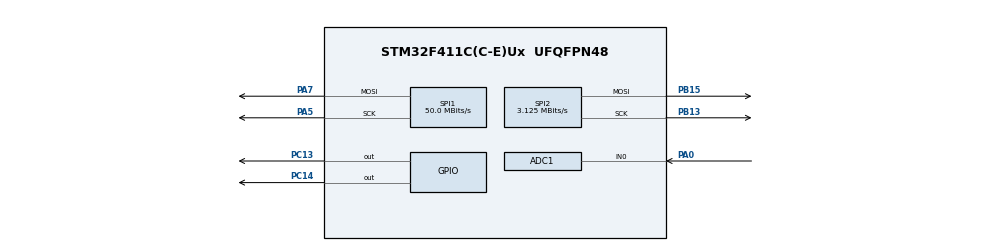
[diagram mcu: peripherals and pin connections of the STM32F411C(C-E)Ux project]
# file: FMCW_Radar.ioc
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ADC1.Channel-0\#ChannelRegularConversion=ADC_CHANNEL_0
ADC1.NbrOfConversionFlag=1
ADC1.Rank-0\#ChannelRegularConversion=1
ADC1.SamplingTime-0\#ChannelRegularConversion=ADC_SAMPLETIME_3CYCLES
ADC1.master=1
Mcu.Family=STM32F4
Mcu.Name=STM32F411C(C-E)Ux
Mcu.Package=UFQFPN48
NVIC.PriorityGroup=NVIC_PRIORITYGROUP_4
PA0-WKUP.Signal=ADCx_IN0
PA13.Mode=Serial_Wire
PA13.Signal=SYS_JTMS-SWDIO
PA14.Mode=Serial_Wire
PA14.Signal=SYS_JTCK-SWCLK
PA5.Mode=TX_Only_Simplex_Unidirect_Master
PA5.Signal=SPI1_SCK
PA7.Mode=TX_Only_Simplex_Unidirect_Master
PA7.Signal=SPI1_MOSI
PB13.Mode=TX_Only_Simplex_Unidirect_Master
PB13.Signal=SPI2_SCK
PB15.Mode=TX_Only_Simplex_Unidirect_Master
PB15.Signal=SPI2_MOSI
PC13-ANTI_TAMP.PinState=GPIO_PIN_SET
PC13-ANTI_TAMP.Signal=GPIO_Output
PC14-OSC32_IN.PinState=GPIO_PIN_SET
PC14-OSC32_IN.Signal=GPIO_Output
ProjectManager.HeapSize=0x200
ProjectManager.StackSize=0x400
ProjectManager.TargetToolchain=MDK-ARM V5
RCC.48MHZClocksFreq_Value=50000000
RCC.AHBFreq_Value=100000000
RCC.APB1CLKDivider=RCC_HCLK_DIV2
RCC.APB1Freq_Value=50000000
RCC.APB1TimFreq_Value=100000000
RCC.APB2Freq_Value=100000000
RCC.APB2TimFreq_Value=100000000
RCC.CortexFreq_Value=100000000
RCC.HCLKFreq_Value=100000000
RCC.HSE_VALUE=25000000
RCC.HSI_VALUE=16000000
RCC.LSE_VALUE=32768
RCC.PLLM=8
RCC.PLLN=100
RCC.SYSCLKFreq_VALUE=100000000
RCC.SYSCLKSource=RCC_SYSCLKSOURCE_PLLCLK
RCC.VCOOutputFreq_Value=200000000
SH.ADCx_IN0.0=ADC1_IN0,IN0
SPI1.CalculateBaudRate=50.0 MBits/s
SPI1.Direction=SPI_DIRECTION_2LINES
SPI1.Mode=SPI_MODE_MASTER
SPI1.VirtualType=VM_MASTER
SPI2.BaudRatePrescaler=SPI_BAUDRATEPRESCALER_16
SPI2.CalculateBaudRate=3.125 MBits/s
SPI2.Direction=SPI_DIRECTION_2LINES
SPI2.Mode=SPI_MODE_MASTER
SPI2.VirtualType=VM_MASTER
board=custom

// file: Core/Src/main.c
/* USER CODE BEGIN Header */
/**
  ******************************************************************************
  * @file           : main.c
  * @brief          : Main program body
  ******************************************************************************
  * @attention
  *
  * Copyright (c) 2026 STMicroelectronics.
  * All rights reserved.
  *
  * This software is licensed under terms that can be found in the LICENSE file
  * in the root directory of this software component.
  * If no LICENSE file comes with this software, it is provided AS-IS.
  *
  ******************************************************************************
  */
/* USER CODE END Header */
#include "main.h"

/* USER CODE BEGIN Includes */
#include "system.h"
#include "spi.h"
#include "adf4350.h"
#include "oled.h"
#include "fft.h"
/* USER CODE END Includes */

/* USER CODE BEGIN PD */
#define MODE_SWEEP          0
#define MODE_SINGLE         1
#define CURRENT_MODE        MODE_SWEEP

#define SINGLE_FREQ_KHZ     2400000U

#define FREQ_START_MHZ      2200U
#define FREQ_STOP_MHZ       4000U
#define FREQ_STEP_KHZ       10U
#define SWEEP_STEP_DELAY_US 0U

#define PFD_KHZ             25000U
#define MOD_VALUE           2500U

// FMCW 距离计算参数
#define C_LIGHT             299792458.0f
#define SWEEP_BW_HZ         1800000000.0f   // 2200→4000MHz
#define SWEEP_STEPS          180000U
#define STEP_TIME_EST_US    5U
#define SWEEP_T_S           ((float)SWEEP_STEPS * STEP_TIME_EST_US / 1000000.0f)
/* USER CODE END PD */

ADC_HandleTypeDef hadc1;

SPI_HandleTypeDef hspi1;
SPI_HandleTypeDef hspi2;

/* USER CODE BEGIN PV */
DMA_HandleTypeDef hdma_adc1;
static uint16_t adc_dma_buf[ADC_BUF_SIZE];
static volatile uint8_t adc_data_ready;
/* USER CODE END PV */

static void MX_GPIO_Init(void);
static void MX_ADC1_Init(void);
static void MX_SPI1_Init(void);
static void MX_SPI2_Init(void);
/* USER CODE BEGIN PFP */
static void ADC_DMA_Start(void);
/* USER CODE END PFP */

/* USER CODE BEGIN 0 */

static void delay_us(uint32_t us)
{
    volatile uint32_t cnt;
    for (cnt = 0; cnt < us * 17; cnt++) {
        __NOP();
    }
}

static void LED_Init(void)
{
    RCC->AHB1ENR |= RCC_AHB1ENR_GPIOCEN;
    GPIOC->MODER   &= ~(3U << 26);
    GPIOC->MODER   |=  (1U << 26);
    GPIOC->OTYPER  &= ~(1U << 13);
    GPIOC->OSPEEDR &= ~(3U << 26);
    GPIOC->BSRR = (1U << 13);
}

static void LED_On(void)  { GPIOC->BSRR = (1U << 29); }
static void LED_Off(void) { GPIOC->BSRR = (1U << 13); }

static void LED_Blink(int times, int on_ms, int off_ms)
{
    for (int i = 0; i < times; i++) {
        LED_On();  delay_ms(on_ms);
        LED_Off(); delay_ms(off_ms);
    }
}

static void SetFreqFast(uint32_t freq_khz)
{
    uint16_t iv = (uint16_t)(freq_khz / PFD_KHZ);
    uint16_t fv = (uint16_t)(((freq_khz % PFD_KHZ) * MOD_VALUE) / PFD_KHZ);
    uint32_t r0 = ((uint32_t)(fv & 0xFFF) << 3)
                | ((uint32_t)(iv & 0xFFFF) << 15);
    SPI1_Write32(r0);
}

// ADC DMA 连续采样启动
static void ADC_DMA_Start(void)
{
    HAL_ADC_Stop(&hadc1);
    HAL_ADC_DeInit(&hadc1);
    hadc1.Init.ContinuousConvMode = ENABLE;
    hadc1.Init.DMAContinuousRequests = ENABLE;
    HAL_ADC_Init(&hadc1);
    HAL_ADC_Start_DMA(&hadc1, (uint32_t *)adc_dma_buf, ADC_BUF_SIZE);
}

/* USER CODE END 0 */

int main(void)
{

  /* MCU Configuration--------------------------------------------------------*/

  /* Reset of all peripherals, Initializes the Flash interface and the Systick. */
  HAL_Init();

  /* Configure the system clock */
  SystemClock_Config();

  /* USER CODE BEGIN SysInit */
  SystemCoreClock = 100000000;
  SysTick_Init();
  /* USER CODE END SysInit */

  /* Initialize all configured peripherals */
  MX_GPIO_Init();
  MX_ADC1_Init();
  MX_SPI1_Init();
  MX_SPI2_Init();
  /* USER CODE BEGIN 2 */
  LED_Init();
  LED_Blink(5, 100, 100);
  delay_ms(500);

  OLED_Init();
  OLED_ShowString(0, 0, "FMCW Radar V2");
  OLED_ShowString(0, 2, "ADC FFT Ready");
  OLED_Update();

  ADF4350_Init();
  delay_ms(100);
  LED_Blink(2, 300, 300);
  delay_ms(500);

  ADC_DMA_Start();
  FFT_Init();

#if (CURRENT_MODE == MODE_SINGLE)
  LED_Blink(3, 80, 80);
  delay_ms(300);
#endif
  /* USER CODE END 2 */

  /* Infinite loop */
  while (1)
  {

    /* USER CODE BEGIN 3 */
#if (CURRENT_MODE == MODE_SINGLE)
    SetFreqFast(SINGLE_FREQ_KHZ);
    LED_On();
    while (1) {
        if (adc_data_ready) {
            adc_data_ready = 0;
            FFT_Process(adc_dma_buf);
            float fpeak = FFT_GetPeakFreq();
            float dist = fpeak * C_LIGHT * SWEEP_T_S / (2.0f * SWEEP_BW_HZ);
            uint32_t d10 = (uint32_t)(dist * 10.0f);
            OLED_ShowString(0, 0, "FMCW Radar V2");
            OLED_ShowString(0, 2, "Fpeak:       Hz");
            OLED_ShowNum(7, 2, (uint32_t)fpeak, 6);
            OLED_ShowString(0, 4, "Dist:       m");
            OLED_ShowNum(6, 4, d10 / 10, 2);
            OLED_ShowString(8, 4, ".");
            OLED_ShowNum(9, 4, d10 % 10, 1);
            OLED_ShowString(0, 6, "Mode: SINGLE");
            OLED_Update();
        }
    }
#else
    {
        const uint32_t start_khz = FREQ_START_MHZ * 1000U;
        const uint32_t stop_khz  = FREQ_STOP_MHZ  * 1000U;
        const uint32_t step_khz  = FREQ_STEP_KHZ;

        LED_On();
        OLED_ShowString(0, 0, "FMCW Radar V2");
        OLED_ShowString(0, 6, "S=2200-4000MHz");
        while (1) {
            for (uint32_t f = start_khz; f <= stop_khz; f += step_khz) {
                SetFreqFast(f);
                if (SWEEP_STEP_DELAY_US) delay_us(SWEEP_STEP_DELAY_US);
            }
            if (adc_data_ready) {
                adc_data_ready = 0;
                FFT_Process(adc_dma_buf);
                float f1 = FFT_GetPeakFreq();
                float d1 = f1 * C_LIGHT * SWEEP_T_S / (2.0f * SWEEP_BW_HZ);
                uint32_t d1_10 = (uint32_t)(d1 * 10.0f);
                OLED_ShowString(0, 2, "Fpeak:       Hz");
                OLED_ShowNum(7, 2, (uint32_t)f1, 6);
                OLED_ShowString(0, 4, "Dist:       m");
                OLED_ShowNum(6, 4, d1_10 / 10, 2);
                OLED_ShowString(8, 4, ".");
                OLED_ShowNum(9, 4, d1_10 % 10, 1);
                OLED_Update();
            }
            for (uint32_t f = stop_khz - step_khz; f > start_khz; f -= step_khz) {
                SetFreqFast(f);
                if (SWEEP_STEP_DELAY_US) delay_us(SWEEP_STEP_DELAY_US);
            }
            SetFreqFast(start_khz);
            if (SWEEP_STEP_DELAY_US) delay_us(SWEEP_STEP_DELAY_US);
            if (adc_data_ready) {
                adc_data_ready = 0;
                FFT_Process(adc_dma_buf);
                float f2 = FFT_GetPeakFreq();
                float d2 = f2 * C_LIGHT * SWEEP_T_S / (2.0f * SWEEP_BW_HZ);
                uint32_t d2_10 = (uint32_t)(d2 * 10.0f);
                OLED_ShowString(0, 2, "Fpeak:       Hz");
                OLED_ShowNum(7, 2, (uint32_t)f2, 6);
                OLED_ShowString(0, 4, "Dist:       m");
                OLED_ShowNum(6, 4, d2_10 / 10, 2);
                OLED_ShowString(8, 4, ".");
                OLED_ShowNum(9, 4, d2_10 % 10, 1);
                OLED_Update();
            }
        }
    }
#endif
    /* USER CODE END 3 */
  }
  /* USER CODE END 3 */
}

static void MX_ADC1_Init(void)
{

  ADC_ChannelConfTypeDef sConfig = {0};

  /** Configure the global features of the ADC (Clock, Resolution, Data Alignment and number of conversion)
  */
  hadc1.Instance = ADC1;
  hadc1.Init.ClockPrescaler = ADC_CLOCK_SYNC_PCLK_DIV4;
  hadc1.Init.Resolution = ADC_RESOLUTION_12B;
  hadc1.Init.ScanConvMode = DISABLE;
  hadc1.Init.ContinuousConvMode = DISABLE;
  hadc1.Init.DiscontinuousConvMode = DISABLE;
  hadc1.Init.ExternalTrigConvEdge = ADC_EXTERNALTRIGCONVEDGE_NONE;
  hadc1.Init.ExternalTrigConv = ADC_SOFTWARE_START;
  hadc1.Init.DataAlign = ADC_DATAALIGN_RIGHT;
  hadc1.Init.NbrOfConversion = 1;
  hadc1.Init.DMAContinuousRequests = DISABLE;
  hadc1.Init.EOCSelection = ADC_EOC_SINGLE_CONV;
  if (HAL_ADC_Init(&hadc1) != HAL_OK)
  {
    Error_Handler();
  }

  /** Configure for the selected ADC regular channel its corresponding rank in the sequencer and its sample time.
  */
  sConfig.Channel = ADC_CHANNEL_0;
  sConfig.Rank = 1;
  sConfig.SamplingTime = ADC_SAMPLETIME_3CYCLES;
  if (HAL_ADC_ConfigChannel(&hadc1, &sConfig) != HAL_OK)
  {
    Error_Handler();
  }

}

static void MX_SPI1_Init(void)
{

  /* SPI1 parameter configuration*/
  hspi1.Instance = SPI1;
  hspi1.Init.Mode = SPI_MODE_MASTER;
  hspi1.Init.Direction = SPI_DIRECTION_2LINES;
  hspi1.Init.DataSize = SPI_DATASIZE_8BIT;
  hspi1.Init.CLKPolarity = SPI_POLARITY_LOW;
  hspi1.Init.CLKPhase = SPI_PHASE_1EDGE;
  hspi1.Init.NSS = SPI_NSS_SOFT;
  hspi1.Init.BaudRatePrescaler = SPI_BAUDRATEPRESCALER_2;
  hspi1.Init.FirstBit = SPI_FIRSTBIT_MSB;
  hspi1.Init.TIMode = SPI_TIMODE_DISABLE;
  hspi1.Init.CRCCalculation = SPI_CRCCALCULATION_DISABLE;
  hspi1.Init.CRCPolynomial = 10;
  if (HAL_SPI_Init(&hspi1) != HAL_OK)
  {
    Error_Handler();
  }

}

static void MX_SPI2_Init(void)
{

  /* SPI2 parameter configuration*/
  hspi2.Instance = SPI2;
  hspi2.Init.Mode = SPI_MODE_MASTER;
  hspi2.Init.Direction = SPI_DIRECTION_2LINES;
  hspi2.Init.DataSize = SPI_DATASIZE_8BIT;
  hspi2.Init.CLKPolarity = SPI_POLARITY_LOW;
  hspi2.Init.CLKPhase = SPI_PHASE_1EDGE;
  hspi2.Init.NSS = SPI_NSS_SOFT;
  hspi2.Init.BaudRatePrescaler = SPI_BAUDRATEPRESCALER_16;
  hspi2.Init.FirstBit = SPI_FIRSTBIT_MSB;
  hspi2.Init.TIMode = SPI_TIMODE_DISABLE;
  hspi2.Init.CRCCalculation = SPI_CRCCALCULATION_DISABLE;
  hspi2.Init.CRCPolynomial = 10;
  if (HAL_SPI_Init(&hspi2) != HAL_OK)
  {
    Error_Handler();
  }

}

static void MX_GPIO_Init(void)
{
  GPIO_InitTypeDef GPIO_InitStruct = {0};

  /* GPIO Ports Clock Enable */
  __HAL_RCC_GPIOC_CLK_ENABLE();
  __HAL_RCC_GPIOA_CLK_ENABLE();
  __HAL_RCC_GPIOB_CLK_ENABLE();

  /*Configure GPIO pin Output Level */
  HAL_GPIO_WritePin(GPIOC, GPIO_PIN_13|GPIO_PIN_14, GPIO_PIN_SET);

  /*Configure GPIO pins : PC13 PC14 */
  GPIO_InitStruct.Pin = GPIO_PIN_13|GPIO_PIN_14;
  GPIO_InitStruct.Mode = GPIO_MODE_OUTPUT_PP;
  GPIO_InitStruct.Pull = GPIO_NOPULL;
  GPIO_InitStruct.Speed = GPIO_SPEED_FREQ_LOW;
  HAL_GPIO_Init(GPIOC, &GPIO_InitStruct);

}

/* USER CODE BEGIN 4 */
void HAL_ADC_ConvCpltCallback(ADC_HandleTypeDef *hadc)
{
    if (hadc->Instance == ADC1) {
        adc_data_ready = 1;
    }
}
/* USER CODE END 4 */

void Error_Handler(void)
{
  __disable_irq();
  while (1)
  {
  }
}
